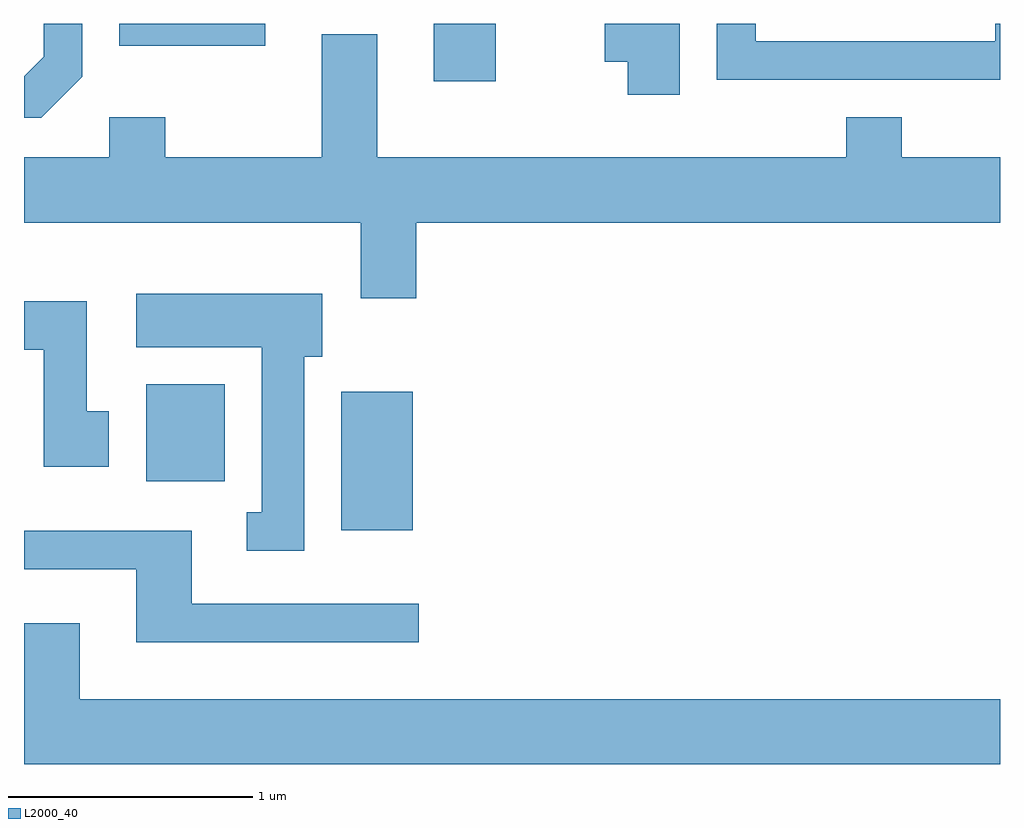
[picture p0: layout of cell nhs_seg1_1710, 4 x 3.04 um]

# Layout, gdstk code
import gdstk
lib = gdstk.Library(unit=1e-6, precision=1e-09)
def R(c, l, rs):  # rectangles x0, y0, x1, y1
    for r in rs: c.add(gdstk.rectangle(r[:2], r[2:], *l))
def P(c, l, *ps):  # polygons
    for p in ps: c.add(gdstk.Polygon(p, *l))
L2000_40 = (2000, 40)

nhs_seg1_1710 = lib.new_cell('nhs_seg1_1710')
R(nhs_seg1_1710, L2000_40, [(238.911,911.636,239.204,912.204), (238.111,911.836,238.434,912.234), (239.291,913.476,239.544,913.712), (238.001,913.621,238.599,913.712)])
P(nhs_seg1_1710, L2000_40, [(237.849,913.494),(237.849,913.712),(237.691,913.712),(237.691,913.577),(237.611,913.496),(237.611,913.326),(237.682,913.326)],
  [(240.299,913.712),(239.991,913.712),(239.991,913.556),(240.086,913.556),(240.086,913.421),(240.299,913.421)],
  [(241.611,913.712),(241.591,913.712),(241.591,913.639),(240.609,913.639),(240.609,913.712),(240.451,913.712),(240.451,913.481),(241.611,913.481)],
  [(239.219,912.896),(241.611,912.896),(241.611,913.164),(241.209,913.164),(241.209,913.329),(240.981,913.329),(240.981,913.164),(239.059,913.164),(239.059,913.669),(238.831,913.669),(238.831,913.164),(238.189,913.164),(238.189,913.329),(237.961,913.329),(237.961,913.164),(237.611,913.164),(237.611,912.896),(238.991,912.896),(238.991,912.586),(239.219,912.586)],
  [(238.759,912.346),(238.834,912.346),(238.834,912.604),(238.071,912.604),(238.071,912.386),(238.586,912.386),(238.586,911.709),(238.523,911.709),(238.523,911.551),(238.759,911.551)],
  [(237.959,912.124),(237.869,912.124),(237.869,912.574),(237.611,912.574),(237.611,912.376),(237.691,912.376),(237.691,911.896),(237.959,911.896)],
  [(239.228,911.334),(238.299,911.334),(238.299,911.634),(237.611,911.634),(237.611,911.476),(238.071,911.476),(238.071,911.176),(239.228,911.176)],
  [(241.611,910.944),(237.839,910.944),(237.839,911.254),(237.611,911.254),(237.611,910.676),(241.611,910.676)])

lib.write_gds('nhs_seg1_1710.gds')
